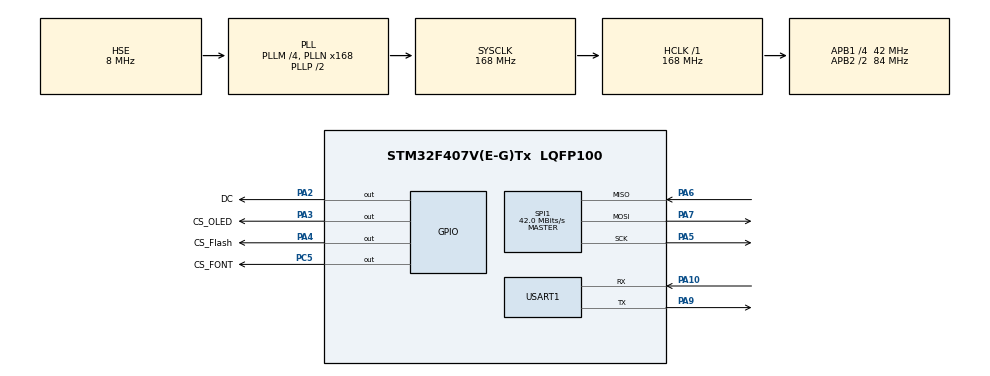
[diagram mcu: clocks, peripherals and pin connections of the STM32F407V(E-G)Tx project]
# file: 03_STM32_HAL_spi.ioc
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Mcu.Family=STM32F4
Mcu.Name=STM32F407V(E-G)Tx
Mcu.Package=LQFP100
NVIC.PriorityGroup=NVIC_PRIORITYGROUP_4
NVIC.USART1_IRQn=true\:0\:0\:false\:false\:true\:true\:true\:true
PA10.Mode=Asynchronous
PA10.Signal=USART1_RX
PA2.GPIO_Label=DC
PA2.PinState=GPIO_PIN_SET
PA2.Signal=GPIO_Output
PA3.GPIO_Label=CS_OLED
PA3.PinState=GPIO_PIN_SET
PA3.Signal=GPIO_Output
PA4.GPIO_Label=CS_Flash
PA4.PinState=GPIO_PIN_SET
PA4.Signal=GPIO_Output
PA5.Mode=Full_Duplex_Master
PA5.Signal=SPI1_SCK
PA6.Mode=Full_Duplex_Master
PA6.Signal=SPI1_MISO
PA7.Mode=Full_Duplex_Master
PA7.Signal=SPI1_MOSI
PA9.Mode=Asynchronous
PA9.Signal=USART1_TX
PC5.GPIO_Label=CS_FONT
PC5.PinState=GPIO_PIN_SET
PC5.Signal=GPIO_Output
PH0-OSC_IN.Mode=HSE-External-Oscillator
PH0-OSC_IN.Signal=RCC_OSC_IN
PH1-OSC_OUT.Mode=HSE-External-Oscillator
PH1-OSC_OUT.Signal=RCC_OSC_OUT
ProjectManager.HeapSize=0x200
ProjectManager.StackSize=0x400
ProjectManager.TargetToolchain=MDK-ARM V5.32
RCC.48MHZClocksFreq_Value=84000000
RCC.AHBFreq_Value=168000000
RCC.APB1CLKDivider=RCC_HCLK_DIV4
RCC.APB1Freq_Value=42000000
RCC.APB1TimFreq_Value=84000000
RCC.APB2CLKDivider=RCC_HCLK_DIV2
RCC.APB2Freq_Value=84000000
RCC.APB2TimFreq_Value=168000000
RCC.CortexFreq_Value=168000000
RCC.HCLKFreq_Value=168000000
RCC.HSE_VALUE=8000000
RCC.HSI_VALUE=16000000
RCC.LSE_VALUE=32768
RCC.PLLM=4
RCC.PLLN=168
RCC.PLLSourceVirtual=RCC_PLLSOURCE_HSE
RCC.SYSCLKFreq_VALUE=168000000
RCC.SYSCLKSource=RCC_SYSCLKSOURCE_PLLCLK
RCC.VCOOutputFreq_Value=336000000
SPI1.CLKPhase=SPI_PHASE_2EDGE
SPI1.CLKPolarity=SPI_POLARITY_HIGH
SPI1.CalculateBaudRate=42.0 MBits/s
SPI1.Direction=SPI_DIRECTION_2LINES
SPI1.Mode=SPI_MODE_MASTER
SPI1.TIMode=SPI_TIMODE_DISABLE
SPI1.VirtualType=VM_MASTER
USART1.VirtualMode=VM_ASYNC
board=custom

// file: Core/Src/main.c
/* USER CODE BEGIN Header */
/**
  ******************************************************************************
  * @file           : main.c
  * @brief          : Main program body
  ******************************************************************************
  * @attention
  *
  * Copyright (c) 2026 STMicroelectronics.
  * All rights reserved.
  *
  * This software is licensed under terms that can be found in the LICENSE file
  * in the root directory of this software component.
  * If no LICENSE file comes with this software, it is provided AS-IS.
  *
  ******************************************************************************
  */
/* USER CODE END Header */
#include "main.h"
#include "spi.h"
#include "usart.h"
#include "gpio.h"

/* USER CODE BEGIN Includes */
#include "SPI_OLED/oled.h"
#include "SPI_OLED/bmp.h"

#include "bsp_w25q64.h"

#include <stdio.h>
int fputc(int ch, FILE* f) {
    HAL_UART_Transmit(&huart1, (uint8_t *)&ch,1, HAL_MAX_DELAY);
    return ch;
}

/* USER CODE END Includes */

void SystemClock_Config(void);

int main(void)
{

    /* MCU Configuration--------------------------------------------------------*/

    /* Reset of all peripherals, Initializes the Flash interface and the Systick. */
    HAL_Init();

    /* Configure the system clock */
    SystemClock_Config();

    /* Initialize all configured peripherals */
    MX_GPIO_Init();
    MX_SPI1_Init();
    MX_USART1_UART_Init();

    /* Infinite loop */
    /* USER CODE BEGIN WHILE */
    printf("Init\n");
    // Flash  ------------------------------------------
    W25Q64_init();

    printf("Flash ID: 0x%X\n", W25Q64_readID());

    uint8_t buff[12] = {0};

    // 读取数据: 第1次
    W25Q64_read(buff, 0x00FF00, 8);
    printf("buff1 = %s %X\n", buff, buff[0]);

    // 写数据 GB2312 (GBK) 一个汉字2字节
    W25Q64_write((uint8_t *)"传智教育", 0x00FF00, 8);

    // 读取数据: 第2次
    W25Q64_read(buff, 0x00FF00, 8);
    printf("buff2 = %s\n", buff);

    // OLED ------------------------------------------
    OLED_Init();				//初始化OLED
    OLED_ColorTurn(0);//0正常显示，1 反色显示
    OLED_DisplayTurn(0);//0正常显示 1 屏幕翻转显示
    while (1)
    {
        // GPIO_PIN_RESET, GPIO_PIN_SET
        // HAL_GPIO_WritePin(); ../Core/Src/main.c(142): warning: illegal character encoding in string literal [-Wno-invalid-source-encoding]

        OLED_Display_128x64(bmp1);
        HAL_Delay(500);
        OLED_Display_GB2312_string(0, 0, "12864,带中文字库");  /*在第1页，第1列，显示一串16x16点阵汉字或8x16的ASCII字*/
        OLED_Display_GB2312_string(0, 2, "16X16简体汉字库,");  /*显示一串16x16点阵汉字或8x16的ASCII字.以下雷同*/
        OLED_Display_GB2312_string(0, 4, "或8X16点阵ASCII,");
        OLED_Display_GB2312_string(0, 6, "或5X7点阵ASCII码");

        HAL_Delay(500);
        OLED_Clear();
        /* USER CODE END WHILE */

    }
}

void SystemClock_Config(void)
{
    RCC_OscInitTypeDef RCC_OscInitStruct = {0};
    RCC_ClkInitTypeDef RCC_ClkInitStruct = {0};

    /** Configure the main internal regulator output voltage
    */
    __HAL_RCC_PWR_CLK_ENABLE();
    __HAL_PWR_VOLTAGESCALING_CONFIG(PWR_REGULATOR_VOLTAGE_SCALE1);

    /** Initializes the RCC Oscillators according to the specified parameters
    * in the RCC_OscInitTypeDef structure.
    */
    RCC_OscInitStruct.OscillatorType = RCC_OSCILLATORTYPE_HSE;
    RCC_OscInitStruct.HSEState = RCC_HSE_ON;
    RCC_OscInitStruct.PLL.PLLState = RCC_PLL_ON;
    RCC_OscInitStruct.PLL.PLLSource = RCC_PLLSOURCE_HSE;
    RCC_OscInitStruct.PLL.PLLM = 4;
    RCC_OscInitStruct.PLL.PLLN = 168;
    RCC_OscInitStruct.PLL.PLLP = RCC_PLLP_DIV2;
    RCC_OscInitStruct.PLL.PLLQ = 4;
    if (HAL_RCC_OscConfig(&RCC_OscInitStruct) != HAL_OK)
    {
        Error_Handler();
    }

    /** Initializes the CPU, AHB and APB buses clocks
    */
    RCC_ClkInitStruct.ClockType = RCC_CLOCKTYPE_HCLK|RCC_CLOCKTYPE_SYSCLK
                                  |RCC_CLOCKTYPE_PCLK1|RCC_CLOCKTYPE_PCLK2;
    RCC_ClkInitStruct.SYSCLKSource = RCC_SYSCLKSOURCE_PLLCLK;
    RCC_ClkInitStruct.AHBCLKDivider = RCC_SYSCLK_DIV1;
    RCC_ClkInitStruct.APB1CLKDivider = RCC_HCLK_DIV4;
    RCC_ClkInitStruct.APB2CLKDivider = RCC_HCLK_DIV2;

    if (HAL_RCC_ClockConfig(&RCC_ClkInitStruct, FLASH_LATENCY_5) != HAL_OK)
    {
        Error_Handler();
    }
}

void Error_Handler(void)
{
    __disable_irq();
    while (1)
    {
    }
}
